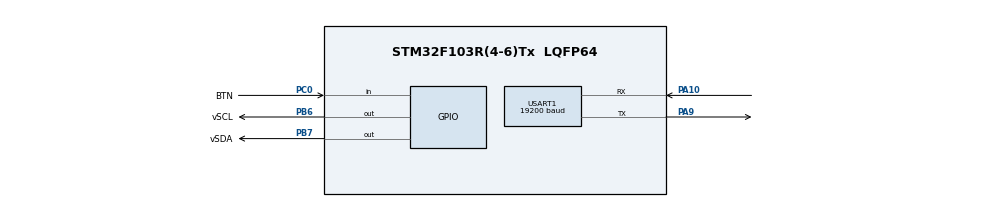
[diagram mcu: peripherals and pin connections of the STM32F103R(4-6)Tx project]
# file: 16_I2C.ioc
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Mcu.Family=STM32F1
Mcu.Name=STM32F103R(4-6)Tx
Mcu.Package=LQFP64
NVIC.PriorityGroup=NVIC_PRIORITYGROUP_4
NVIC.USART1_IRQn=true\:0\:0\:false\:false\:true\:true\:true\:true
PA10.Mode=Asynchronous
PA10.Signal=USART1_RX
PA9.Mode=Asynchronous
PA9.Signal=USART1_TX
PB6.GPIO_Label=vSCL
PB6.Signal=GPIO_Output
PB7.GPIO_Label=vSDA
PB7.Signal=GPIO_Output
PC0.GPIO_Label=BTN
PC0.Signal=GPIO_Input
ProjectManager.HeapSize=0x200
ProjectManager.StackSize=0x400
ProjectManager.TargetToolchain=MDK-ARM V5.32
RCC.APB1Freq_Value=8000000
RCC.APB2Freq_Value=8000000
USART1.BaudRate=19200
USART1.VirtualMode=VM_ASYNC
VP_SYS_VS_ND.Mode=No_Debug
board=custom

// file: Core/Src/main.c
/* USER CODE BEGIN Header */
/**
  ******************************************************************************
  * @file           : main.c
  * @brief          : Main program body
  ******************************************************************************
  * @attention
  *
  * Copyright (c) 2022 STMicroelectronics.
  * All rights reserved.
  *
  * This software is licensed under terms that can be found in the LICENSE file
  * in the root directory of this software component.
  * If no LICENSE file comes with this software, it is provided AS-IS.
  *
  ******************************************************************************
  */
/* USER CODE END Header */
#include "main.h"
#include "usart.h"
#include "gpio.h"

/* USER CODE BEGIN Includes */
#include "vI2C.h"		//引用I2C总线时序模拟头文件
#include "AT24C02.h"		//引用AT24C02操作头文件
/* USER CODE END Includes */

/* USER CODE BEGIN PV */
uint8_t RcvDat[1];		//存放接收数据数组
uint8_t SndDat[1];		//存放发送数据数组
uint8_t rf = 0;		//接收完成标志位
/* USER CODE END PV */

void SystemClock_Config(void);

int main(void)
{

  /* MCU Configuration--------------------------------------------------------*/

  /* Reset of all peripherals, Initializes the Flash interface and the Systick. */
  HAL_Init();

  /* Configure the system clock */
  SystemClock_Config();

  /* Initialize all configured peripherals */
  MX_GPIO_Init();
  MX_USART1_UART_Init();
  /* USER CODE BEGIN 2 */
	HAL_UART_Receive_IT(&huart1, RcvDat, 1);		//串口1接收中断
  /* USER CODE END 2 */

  /* Infinite loop */
  /* USER CODE BEGIN WHILE */
  while (1)
  {
		if(rf==1)  //若接收完成
		{
			rf = 0;  //清0标志位
			AT24C02_Write(0, RcvDat[0]);		//写入1字节
			HAL_UART_Receive_IT(&huart1, RcvDat, 1);		//每次接收前需调用一次
		}
		else if(HAL_GPIO_ReadPin(BTN_GPIO_Port, BTN_Pin) == GPIO_PIN_RESET)		//若按下按键
		{
			SndDat[0] = AT24C02_Read(0);		//读1字节数据，并存入数组
			HAL_UART_Transmit(&huart1, SndDat, 1, 0xffff);		//串口1发送1字节，超时65535ms
			while(HAL_GPIO_ReadPin(BTN_GPIO_Port, BTN_Pin) == GPIO_PIN_RESET);		//直到按键松开
		}
    /* USER CODE END WHILE */

  }
}

void SystemClock_Config(void)
{
  RCC_OscInitTypeDef RCC_OscInitStruct = {0};
  RCC_ClkInitTypeDef RCC_ClkInitStruct = {0};

  /** Initializes the RCC Oscillators according to the specified parameters
  * in the RCC_OscInitTypeDef structure.
  */
  RCC_OscInitStruct.OscillatorType = RCC_OSCILLATORTYPE_HSI;
  RCC_OscInitStruct.HSIState = RCC_HSI_ON;
  RCC_OscInitStruct.HSICalibrationValue = RCC_HSICALIBRATION_DEFAULT;
  RCC_OscInitStruct.PLL.PLLState = RCC_PLL_NONE;
  if (HAL_RCC_OscConfig(&RCC_OscInitStruct) != HAL_OK)
  {
    Error_Handler();
  }

  /** Initializes the CPU, AHB and APB buses clocks
  */
  RCC_ClkInitStruct.ClockType = RCC_CLOCKTYPE_HCLK|RCC_CLOCKTYPE_SYSCLK
                              |RCC_CLOCKTYPE_PCLK1|RCC_CLOCKTYPE_PCLK2;
  RCC_ClkInitStruct.SYSCLKSource = RCC_SYSCLKSOURCE_HSI;
  RCC_ClkInitStruct.AHBCLKDivider = RCC_SYSCLK_DIV1;
  RCC_ClkInitStruct.APB1CLKDivider = RCC_HCLK_DIV1;
  RCC_ClkInitStruct.APB2CLKDivider = RCC_HCLK_DIV1;

  if (HAL_RCC_ClockConfig(&RCC_ClkInitStruct, FLASH_LATENCY_0) != HAL_OK)
  {
    Error_Handler();
  }
}

/* USER CODE BEGIN 4 */
void HAL_UART_RxCpltCallback(UART_HandleTypeDef *huart)		//串口接收完毕回调函数
{
	if(huart == &huart1)
	{
		rf = 1;		//若接收完成，则标志位置1
	}
}

/* USER CODE END 4 */

void Error_Handler(void)
{
  __disable_irq();
  while (1)
  {
  }
}
